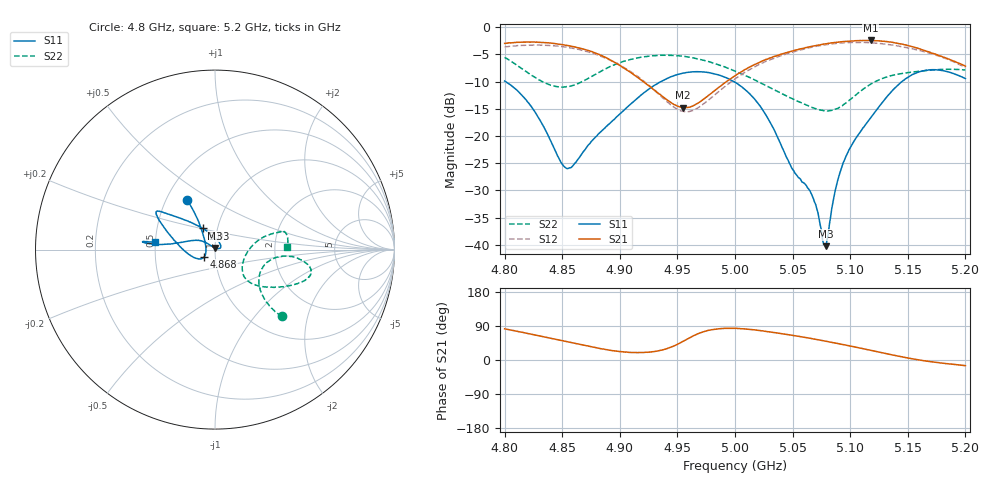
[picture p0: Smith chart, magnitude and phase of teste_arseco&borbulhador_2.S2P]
! Network Analyzer HP8722D
! Hewlett-Packard
! Data name: Linha & Wilkinson
! Saver's name: Rodrigo Anjos
! Comments: Teste da utilização de aquisição
! continua pelo VNA HP8722D
! Time and date: 15/4/2025 15:39
!  Frequency  S11  S21  S12  S22
# HZ  S  MA R 50
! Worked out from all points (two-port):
!   401 points, 4.8 GHz to 5.2 GHz, reference 50 ohm
!   highest |S21| = -2.45 dB at 5.118 GHz (marker M1); lowest = -14.8 dB at 4.955 GHz (marker M2)
!   |S21| within 3 dB of the highest: start of sweep to 4.886 GHz; 5.033 GHz to 5.18 GHz (147.1 MHz wide, 2.88 % of centre)
!   lowest |S11| = -40.2 dB at 5.079 GHz (marker M3), VSWR 1.02, Z = 50.1 + j0.967 ohm
!   |S11| at or under -10 dB: 4.801 GHz to 4.936 GHz (134.9 MHz wide, 2.77 % of centre); 4.999 GHz to 5.145 GHz (146 MHz wide, 2.88 % of centre)
!   |S22| runs from -15.4 to -5.2 dB; largest |S21 - S12| = 1
!   S11 on the Smith chart (normalised r, x): 4.8 GHz: 0.63, +0.39; 4.868 GHz: 0.89, -0.07; 5.03 GHz: 0.85, +0.20; 5.2 GHz: 0.50, +0.05
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4.8e9  0.3198 119.6  0.7086 82.3  0.6587 -12.2  0.5261 -45.0
4.824e9  0.1811 120.2  0.7294 67.5  0.6823 -22.6  0.357 -43.3
4.852e9  0.05204 168.6  0.6851 49.8  0.6573 -35.8  0.282 -22.6
4.867e9  0.06846 -147.3  0.6349 40.2  0.6127 -43.7  0.3152 -10.6
4.868e9  0.07092 -146.6  0.6297 39.5  0.6089 -44.3  0.3177 -9.9
4.901e9  0.1627 -175.3  0.4386 22.2  0.4415 -60.9  0.4752 -6.5
4.934e9  0.3093 156.5  0.244 24.5  0.2415 -63.2  0.5489 -12.6
4.955e9  0.3785 149.5  0.1817 49.4  0.168 -37.3  0.5396 -17.4
4.968e9  0.3889 147.0  0.2006 69.4  0.182 -14.7  0.509 -21.1
5e9  0.3116 141.7  0.3579 83.5  0.3343 5.6  0.3942 -32.0
5.017e9  0.2185 133.4  0.453 79.4  0.4311 3.9  0.3273 -38.7
5.03e9  0.1367 120.2  0.5193 74.2  0.4977 0.2  0.2783 -42.7
5.05e9  0.04941 65.7  0.6041 64.9  0.5882 -7.1  0.2193 -42.7
5.067e9  0.02827 14.5  0.6667 56.2  0.6559 -15.2  0.1826 -34.0
5.077e9  0.01004 46.6  0.6988 50.5  0.6841 -20.7  0.1707 -23.0
5.079e9  0.009732 82.5  0.702 49.5  0.6902 -22.1  0.1702 -20.2
5.087e9  0.03152 134.6  0.722 44.6  0.7052 -26.8  0.1762 -8.3
5.093e9  0.05312 140.5  0.7335 41.2  0.7146 -30.5  0.1891 0.1
5.118e9  0.1483 160.9  0.7538 25.6  0.7167 -46.7  0.3001 15.3
5.134e9  0.2429 172.3  0.7285 15.1  0.6891 -56.4  0.3541 15.3
5.164e9  0.3976 174.4  0.613 -2.0  0.5958 -71.3  0.398 14.7
5.2e9  0.3366 173.0  0.437 -14.9  0.4259 -83.5  0.4037 2.0
